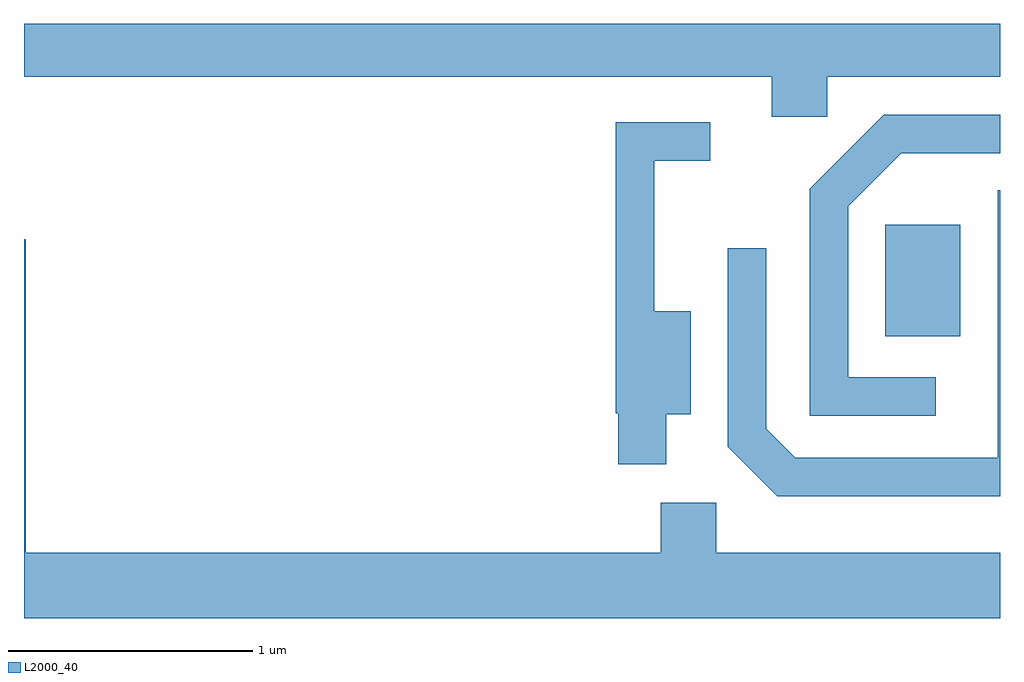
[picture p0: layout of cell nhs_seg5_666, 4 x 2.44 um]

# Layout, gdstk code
import gdstk
lib = gdstk.Library(unit=1e-6, precision=1e-09)
def R(c, l, rs):  # rectangles x0, y0, x1, y1
    for r in rs: c.add(gdstk.rectangle(r[:2], r[2:], *l))
def P(c, l, *ps):  # polygons
    for p in ps: c.add(gdstk.Polygon(p, *l))
L2000_40 = (2000, 40)

nhs_seg5_666 = lib.new_cell('nhs_seg5_666')
R(nhs_seg5_666, L2000_40, [(207.141,1506.791,207.449,1507.249)])
P(nhs_seg5_666, L2000_40, [(206.904,1507.856),(207.611,1507.856),(207.611,1508.072),(203.611,1508.072),(203.611,1507.856),(206.676,1507.856),(206.676,1507.691),(206.904,1507.691)],
  [(207.348,1506.624),(206.989,1506.624),(206.989,1507.324),(207.207,1507.541),(207.611,1507.541),(207.611,1507.699),(207.134,1507.699),(206.831,1507.397),(206.831,1506.466),(207.348,1506.466)],
  [(206.244,1506.471),(206.344,1506.471),(206.344,1506.894),(206.194,1506.894),(206.194,1507.511),(206.423,1507.511),(206.423,1507.669),(206.036,1507.669),(206.036,1506.475),(206.046,1506.475),(206.046,1506.266),(206.244,1506.266)],
  [(207.611,1507.389),(207.601,1507.389),(207.601,1506.294),(206.772,1506.294),(206.654,1506.412),(206.654,1507.153),(206.496,1507.153),(206.496,1506.339),(206.699,1506.136),(207.611,1506.136)],
  [(207.611,1505.904),(206.449,1505.904),(206.449,1506.109),(206.221,1506.109),(206.221,1505.904),(203.619,1505.904),(203.619,1507.189),(203.611,1507.189),(203.611,1505.636),(207.611,1505.636)])

lib.write_gds('nhs_seg5_666.gds')
